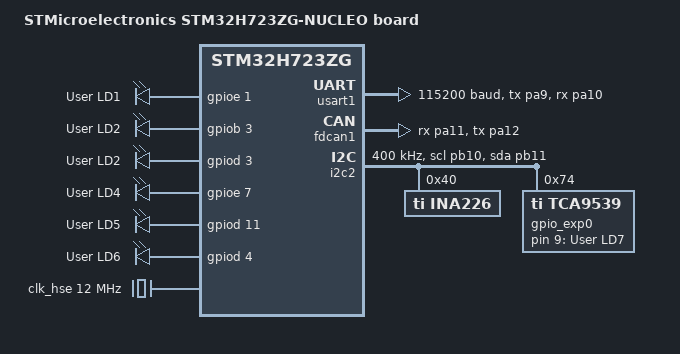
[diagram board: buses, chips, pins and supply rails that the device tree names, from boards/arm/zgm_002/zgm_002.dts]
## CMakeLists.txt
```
# SPDX-License-Identifier: Apache-2.0

cmake_minimum_required(VERSION 3.20.0)
set(BOARD_ROOT ${CMAKE_CURRENT_SOURCE_DIR})
set(DTS_ROOT ${CMAKE_CURRENT_SOURCE_DIR})
set(DTC_OVERLAY_FILE ${CMAKE_CURRENT_SOURCE_DIR}/../modules/lib/motorlib/drivers/drivers@0.2.overlay)

get_filename_component(MODULES_BASE_PATH "${CMAKE_CURRENT_SOURCE_DIR}/../modules/lib" ABSOLUTE)

# 添加Zephyr外部模块
list(APPEND ZEPHYR_EXTRA_MODULES
    "${MODULES_BASE_PATH}/motorlib"
    "${MODULES_BASE_PATH}/CommonLibrary"
    "${MODULES_BASE_PATH}/ProtocolV4"    
)

find_package(Zephyr REQUIRED HINTS $ENV{ZEPHYR_BASE})
project(super)

#add_subdirectory(drivers/can)
add_subdirectory(drivers/gpio)
if(CONFIG_UAVCAN_ENABLE)
    zephyr_library_sources(${CMAKE_CURRENT_SOURCE_DIR}/src/super_thread.c)
endif()
if(CONFIG_MOTORLIB_ENABLE)
    zephyr_library_sources(${CMAKE_CURRENT_SOURCE_DIR}/src/mc_thread.c)
endif()

target_sources(app PRIVATE
    src/main.c
)
```

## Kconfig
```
#// clang-format off
source "Kconfig.zephyr" 
rsource "drivers/gpio/Kconfig.tca9539" 
#// clang-format on
```

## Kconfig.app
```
config MOTOR_MODEL
    bool "Enable Motor Model"
    default n
    help
      Enable specific motor model configuration
      for superlift application
```

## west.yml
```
manifest:
  self:
    path: powerlifter  # 修正拼写错误

  remotes:
    - name: github
      url-base: ssh://git@github.com 
    - name: origin 
      url-base: ssh://git@github.com/zagerx  # 改为 SSH 协议

  defaults:
    remote: origin
    revision: master

  projects:
    - name: zephyr
      remote: github
      repo-path: zephyrproject-rtos/zephyr
      revision: v4.1.0
      import: submanifests
      import:
        name-allowlist:
          - cmsis
          - cmsis-dsp
          - hal_stm32
          - segger
          - canopennode
    - name: ProtocolV4
      path: modules/lib/ProtocolV4
      submodules: true
      revision: master

    - name: motorlib
      path: modules/lib/motorlib
      revision: master

    - name: CommonLibrary
      path: modules/lib/CommonLibrary
      revision: master

    - name: syrius-dts
      path: syrius-dts/
      remote: origin  # 改为存在的 remote
      revision: master
    
    - name: syrius-boards
      path: syrius-boards/
      remote: origin  # 改为存在的 remote
      revision: master
```

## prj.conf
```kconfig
CONFIG_GPIO=y
CONFIG_LOG=y
CONFIG_COMPILER_SAVE_TEMPS=y
CONFIG_CMSIS_DSP=y
CONFIG_CMSIS_DSP_BASICMATH=y  # 根据需要启用其他功能模块
CONFIG_CMSIS_DSP_CONTROLLER=y  # 启用三角函数函数（包含 arm_sin_cos_f32）
CONFIG_CMSIS_DSP_FASTMATH=y

# 禁用 UART 控制台输出
CONFIG_UART_CONSOLE=y

# 启用 RTT 控制台
CONFIG_RTT_CONSOLE=n

# 启用 SEGGER RTT 通信协议
CONFIG_SEGGER_SYSTEMVIEW=n
CONFIG_USE_SEGGER_RTT=y

CONFIG_FPU=y
CONFIG_FPU_SHARING=y

CONFIG_DEBUG_OPTIMIZATIONS=y
CONFIG_NO_OPTIMIZATIONS=y
CONFIG_CAN=y
CONFIG_CAN_FD_MODE=y
CONFIG_CAN_STM32H7_FDCAN=y
CONFIG_CAN_INIT_PRIORITY=70
CONFIG_UAVCAN_ENABLE=y
CONFIG_STD_C11=y
# CONFIG_DEVICE_ITERATION=y


# 选择电机型号
CONFIG_MOTOR_SUPER_ABZHALL_400W=y
CONFIG_MOTORLIB_ENABLE=y
CONFIG_COMMONLIBRARY_ENABLE=y


# CONFIG_I2C=y
CONFIG_SENSOR=y
CONFIG_MAIN_STACK_SIZE=4096
CONFIG_THREAD_NAME=y

CONFIG_GPIO_TCA9539=y
# CONFIG_GPIO_LOG_LEVEL_DBG=y

# CONFIG_CURRSMP_SHUNT_LOG_LEVEL=3
```

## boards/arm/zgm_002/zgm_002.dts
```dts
/*
 * Copyright (c) 2020 Alexander Kozhinov <ak.alexander.kozhinov@gmail.com>
 * SPDX-License-Identifier: Apache-2.0
 */

/dts-v1/;
#include <st/h7/stm32h723Xg.dtsi>
#include <st/h7/stm32h723vgtx-pinctrl.dtsi>

/*
 * WARNING:
 * JP6 and SB72 must be ON when using Ethernet.
 */

/ {
	model = "STMicroelectronics STM32H723ZG-NUCLEO board";
	compatible = "st,stm32h723zg-nucleo";

	chosen {
		zephyr,console = &usart1;
		zephyr,shell-uart = &usart1;
		zephyr,dtcm = &dtcm;
		zephyr,sram = &sram0;
		zephyr,flash = &flash0;
		zephyr,canbus = &fdcan1;
	};

	leds: leds {
		compatible = "gpio-leds";
		

		green_led: led_0 {
			gpios = <&gpioe 1 GPIO_ACTIVE_HIGH>;
			label = "User LD1";
		};
		mot12_brk_pin: led_1 {
			gpios = <&gpiob 3 GPIO_ACTIVE_HIGH>;
			label = "User LD2";
		};
		encoder_vcc: led_2 {
			gpios = <&gpiod 3 GPIO_ACTIVE_HIGH>;
			label = "User LD2";
		};	
		wdog: led_3 {
			gpios = <&gpioe 7 GPIO_ACTIVE_HIGH>;
			label = "User LD4";
		};				
		proximity_switch:led_4{
			gpios = <&gpiod 11 GPIO_ACTIVE_HIGH>;
			label = "User LD5";
		};
		stopbutton:led_5{
			gpios = <&gpiod 4 GPIO_ACTIVE_HIGH>;
			label = "User LD6";
		};
		run_led: led_6 {
			gpios = <&gpio_exp0 9 GPIO_ACTIVE_HIGH>;
			label = "User LD7";
		};	
	};

	aliases {
		led0 = &green_led;
	};
};

&clk_lsi {
	status = "okay";
};

&clk_hsi48 {
	status = "okay";
};

&clk_hse {
	clock-frequency = <DT_FREQ_M(12)>; /* STLink 12MHz clock */
	status = "okay";
};

&clk_lse {
	status = "disabled";
};

&pll {
	div-m = <6>;
	mul-n = <275>;
	div-p = <1>;
	div-q = <4>;
	div-r = <2>;
	clocks = <&clk_hse>;
	status = "okay";
};

&pll2 {
	div-m = <1>;
	mul-n = <10>;
	div-p = <1>;
	div-q = <1>;
	div-r = <1>;
	clocks = <&clk_hse>;
	status = "okay";
};

&rcc {
	clocks = <&pll>;
	clock-frequency = <DT_FREQ_M(550)>;
	d1cpre = <1>;
	hpre = <2>;    /* HCLK: 275   MHz */
	d1ppre = <2>;  /* APB1: 137.5 MHz */
	d2ppre1 = <2>; /* APB2: 137.5 MHz */
	d2ppre2 = <2>; /* APB3: 137.5 MHz */
	d3ppre = <2>;  /* APB4: 137.5 MHz */
};


&usart1 {
	pinctrl-0 = <&usart1_tx_pa9 &usart1_rx_pa10>;
	pinctrl-names = "default";
	current-speed = <115200>;
	status = "okay";
};


&backup_sram {
	status = "okay";
};

&fdcan1 {
	pinctrl-0 = <&fdcan1_rx_pa11 &fdcan1_tx_pa12>;
	pinctrl-names = "default";
	clocks = <&rcc STM32_CLOCK_BUS_APB1_2 0x00000100>,
		 <&rcc STM32_SRC_PLL2_Q FDCAN_SEL(2)>;
	status = "okay";
};
&i2c2 {
	pinctrl-0 = <&i2c2_scl_pb10 &i2c2_sda_pb11>;
	pinctrl-names = "default";
	status = "okay";
	clock-frequency = <I2C_BITRATE_FAST>;

	ina226@40 {
		compatible = "ti,ina226";
		reg = <0x40>;
		
		current-lsb-microamps = <610>;
		rshunt-micro-ohms = <2000>;
		
		/* 优化配置 */
		avg-count = <16>;
		vbus-conversion-time-us = <1100>;
		vshunt-conversion-time-us = <1100>;
		operating-mode = "Shunt and Bus, Continuous";
	};
	gpio_exp0: tca9539@74 {
		compatible = "ti,tca9539";
		reg = <0x74>;
		gpio-controller;
		#gpio-cells = <2>;
		ngpios = <16>;
		status = "okay";
	};	
};
```

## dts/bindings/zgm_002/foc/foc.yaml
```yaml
# Copyright 2023 SyriusRobotics
# SPDX-License-Identifier: Apache-2.0

description: Motor Control Algorithm 

compatible: "foc-ctrl-algo"

properties:
  modulate:
    type: int
    required: false 
    description: FOC SVPWM FLAG  
```

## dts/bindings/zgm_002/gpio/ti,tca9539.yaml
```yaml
# Copyright (c) 2018, Aapo Vienamo
# Copyright (c) 2021, Laird Connectivity
# SPDX-License-Identifier: Apache-2.0

description: TCA9539 GPIO node

compatible: "ti,tca9539"

include: [gpio-controller.yaml, i2c-device.yaml]

properties:
  has-pud:
    type: boolean
    description: Supports pull-up/pull-down

  has-interrupt-mask-reg:
    type: boolean
    description: Has Interrupt mask register (TCA95xx)

  interrupt-gpios:
    type: phandle-array
    description: Interrupt GPIO pin (active-low open-drain)

  "#gpio-cells":
    const: 2

gpio-cells:
  - pin
  - flags
```

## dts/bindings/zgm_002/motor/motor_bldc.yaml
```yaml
# Copyright 2023 SyriusRobotics
# SPDX-License-Identifier: Apache-2.0

description: BLDC 电机设备绑定

compatible: "motor-bldc"

include: [base.yaml]

properties:
  currsmp:
    type: phandle
    required: true
    description: FOC SVPWM 
  feedback:    
    type: phandle
    required: true 
    description: FOC SVPWM out          
  pwm:
    type: phandle
    required: true
    description: FOC SVPWM out    

  status:
    type: string
    required: false
    description: 设备状态 (okay/disabled)
```

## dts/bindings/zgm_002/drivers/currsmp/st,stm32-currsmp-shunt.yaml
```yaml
# Copyright (c) 2021, Teslabs Engineering S.L.
# SPDX-License-Identifier: Apache-2.0

description: |
  STM32 shunt current sampling driver.

  The shunt current sampling device is expected to be a children of any STM32
  ADC supporting injected conversions. Example usage:

    &adc1 {
      currsmp: currsmp {
        compatible = "st,stm32-currsmp-shunt";
        pinctrl-0 = <&adc1_in1_pa0 &adc1_in7_pc1 &adc1_in6_pc0>;
        pinctrl-names = "default";

        adc-resolution = <12>;
        adc-tsample-us = <2>;
        adc-channels = <1 7 6>;
        adc-trigger = <STM32_ADC_INJ_TRIG_TIM1_TRGO>;
      };
    };

compatible: "st,stm32-currsmp-shunt"

include: [base.yaml, pinctrl-device.yaml]

properties:
  pinctrl-0:
    required: true

  pinctrl-names:
    required: true

  adc-resolution:
    type: int
    required: false
    description: |
      ADC resolution in bits. Available resolutions can differ depending on
      the selected SoC family.

  adc-tsample:
    type: int
    required: false
    description: |
      ADC sampling time in cycles. Decimal sampling times must be rounded
      up, e.g. 19.5 needs to be provided as 20. Available sample times can
      differ depending on the SoC family.

  adc-channels:
    type: array
    required: false
    description: |
      ADC channels (a, b, c).

  adc-trigger:
    type: int
    required: false
    description: |
      External trigger for the injected ADC conversions. The external trigger
      must be an output of the timer used for SV-PWM.

      Definitions available at dts-bindings/adc/stm32fxxx.h files.
  adc-slave:
    type: int
    required: false
    description: |
      Timer slave mode flag, default 0 (master mode)
```

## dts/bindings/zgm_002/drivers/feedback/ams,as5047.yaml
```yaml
# Copyright (c) 2022, Felipe Neves
# SPDX-License-Identifier: Apache-2.0

description: |
    AMS (Austria Mikro Systeme) AS5047 Angular position sensor

compatible: "ams,as5047"

include: [sensor-device.yaml, spi-device.yaml]
```

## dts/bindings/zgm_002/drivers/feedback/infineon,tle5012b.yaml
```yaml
# Copyright (c) 2022, Felipe Neves
# SPDX-License-Identifier: Apache-2.0

description: |
    Infineon TLE5012B magnetic angular position sensor

compatible: "infineon,tle5012b"

include: [sensor-device.yaml, spi-device.yaml]

properties:
  bit-resolution:
    type: int
    required: false
    default: 15

  angle-offset:
    type: int
    required: false
    default: 0

  pole-number:
    type: int
    required: false
    default: 0

  cs-gpios:
    type: phandle-array
    required: false
```

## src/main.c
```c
/*
 * Copyright (c) 2016 Intel Corporation
 *
 * SPDX-License-Identifier: Apache-2.0
 */

#include "zephyr/device.h"
#include <zephyr/kernel.h>

int main(void)
{
	while (1) {
		k_msleep(1000);
	}
	return 0;
}
```

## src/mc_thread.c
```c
/**
 * @file motor_thread.c
 * @brief BLDC motor control thread implementation
 *
 * Handles:
 * - Motor control thread creation
 * - Hardware initialization (GPIOs, watchdog)
 * - Main motor control loop
 *
 * Copyright (c) 2023 Your Company
 * SPDX-License-Identifier: Apache-2.0
 */

#include <stdint.h>
#include <zephyr/kernel.h>
#include "fault_monitoring_module.h"
#include "statemachine.h"
#include "zephyr/device.h"
#include <zephyr/drivers/gpio.h>
#include <zephyr/logging/log.h>
#include <lib/motor/motor.h>
#include <fault_monitoring_module.h>
#include <zephyr/sys/reboot.h>

/* Module logging setup */
#define LOG_LEVEL CONFIG_MOTOR_LIB_LOG_LEVEL
#include <zephyr/logging/log.h>
LOG_MODULE_REGISTER(motor_thread);

/* Thread stack definition */
K_THREAD_STACK_DEFINE(motor_thread_stack, 2048);
#define MOT12_BRK_PIN_NODE DT_NODELABEL(mot12_brk_pin)
#define ENCODER_VCC        DT_NODELABEL(encoder_vcc)
#define W_DOG              DT_NODELABEL(wdog)
/**
 * @struct motor_thread_data
 * @brief Motor thread control structure
 */

static struct k_thread mc_thread; ///< Thread control block

/**
 * @brief Motor control thread entry function
 * @param p1 Unused parameter
 * @param p2 Unused parameter
 * @param p3 Unused parameter
 *
 * Initializes hardware and runs main control loop:
 * 1. Configures all GPIO devices
 * 2. Starts motor control tasks
 * 3. Maintains watchdog timer
 */
extern void motor_set_vol(const struct device *motor, float *bus_vol);
extern void motor_set_falutcode(const struct device *motor, enum motor_fault_code code);
extern enum motor_fault_code motor_get_falutcode(const struct device *motor);
static void motor_thread_entry(void *p1, void *p2, void *p3)
{
	const struct device *motor0 = DEVICE_DT_GET(DT_NODELABEL(motor0));
	const struct motor_data *m_data = motor0->data;

	int ret;

	const struct gpio_dt_spec mot12_brk = GPIO_DT_SPEC_GET(MOT12_BRK_PIN_NODE, gpios);
	ret = gpio_pin_configure_dt(&mot12_brk, GPIO_OUTPUT_ACTIVE);
	if (ret < 0) {
		LOG_ERR("Failed to configure brake pin (err %d)", ret);
	}
	gpio_pin_set_dt(&mot12_brk, 0);
	/* Initialize watchdog pin */
	const struct gpio_dt_spec w_dog = GPIO_DT_SPEC_GET(W_DOG, gpios);
	ret = gpio_pin_configure_dt(&w_dog, GPIO_OUTPUT_ACTIVE);
	if (ret < 0) {
		LOG_ERR("Failed to configure watchdog pin (err %d)", ret);
	}

	/* Initialize encoder power */
	const struct gpio_dt_spec encoder_vcc = GPIO_DT_SPEC_GET(ENCODER_VCC, gpios);
	ret = gpio_pin_configure_dt(&encoder_vcc, GPIO_OUTPUT_ACTIVE);
	if (ret < 0) {
		LOG_ERR("Failed to configure encoder power (err %d)", ret);
	}

	float bus_volcurur[2];
	fmm_t *bus_vol_fmm = m_data->fault[0];
	fmm_t *buf_curr_fmm = m_data->fault[1];
	fmm_init(bus_vol_fmm, 60.0f, 48.0f, 5, 5, NULL);
	fmm_init(buf_curr_fmm, 5.0f, 0.0f, 5, 5, NULL);

	static int16_t fault_fsm = 0;
	while (1) {
		motor_get_bus_voltage_current(motor0, &bus_volcurur[0], &bus_volcurur[1]);
		motor_set_vol(motor0, bus_volcurur);

		fmm_monitoring(bus_vol_fmm, bus_volcurur[0]);
		fmm_monitoring(buf_curr_fmm, bus_volcurur[1]);

		switch (fault_fsm) {
		case 1:
			if (fmm_readstatus(bus_vol_fmm) == FMM_NORMAL &&
			    fmm_readstatus(buf_curr_fmm) == FMM_NORMAL) { // 判断是否恢复
				fault_fsm = 0;
				motor_set_falutcode(motor0, MOTOR_FAULTCODE_NOERR);
				motor_set_state(motor0, MOTOR_STATE_IDLE);
			}
			break;
		case 0: // 判断是否有故障
			if (fmm_readstatus(bus_vol_fmm) == FMM_FAULT) {
				fault_fsm = 1;
				motor_set_falutcode(motor0, MOTOR_FAULTCODE_UNDERVOL);
				motor_set_state(motor0, MOTOR_STATE_FAULT);
			} else if (fmm_readstatus(buf_curr_fmm) == FMM_FAULT) {
				fault_fsm = 1;
				motor_set_falutcode(motor0, MOTOR_FAULTCODE_OVERCURRMENT);
				motor_set_state(motor0, MOTOR_STATE_FAULT);
			} else {
			}
			break;
		default:
			break;
		}

		DISPATCH_FSM(m_data->mode_state_mec);
		gpio_pin_toggle_dt(&w_dog);

		k_msleep(1);
	}
}

/**
 * @brief Create motor control thread
 * @param dev Unused device pointer
 *
 * Creates high-priority cooperative thread for motor control.
 */
int creat_motor_thread(void)
{

	k_thread_create(&mc_thread, motor_thread_stack, K_THREAD_STACK_SIZEOF(motor_thread_stack),
			motor_thread_entry, NULL, NULL, NULL,
			K_PRIO_COOP(4), // High priority cooperative thread
			0, K_NO_WAIT);
	return 0;
}
SYS_INIT(creat_motor_thread, APPLICATION, CONFIG_APPLICATION_INIT_PRIORITY);
```

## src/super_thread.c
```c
#include <stdint.h>
#include <zephyr/kernel.h>
#include <zephyr/init.h>
#include <statemachine.h>
#include "zephyr/device.h"
#include <zephyr/drivers/gpio.h>
#include <zephyr/logging/log.h>
#include <lib/motor/motor.h>
#include "s_posi_planning.h"
#include <lib/foc/foc.h>
#include <zephyr/sys/reboot.h>
#include <zephyr/drivers/sensor.h>

/* Module logging setup */
LOG_MODULE_REGISTER(super_thread, LOG_LEVEL_DBG);

/* Device tree node aliases */
#define LED0_NODE	   DT_ALIAS(led0)
#define MOT12_BRK_PIN_NODE DT_NODELABEL(mot12_brk_pin)
#define ENCODER_VCC	   DT_NODELABEL(encoder_vcc)
#define W_DOG		   DT_NODELABEL(wdog)
#define P_SWITCH	   DT_NODELABEL(proximity_switch)
#define STOP_BUTTON	   DT_NODELABEL(stopbutton)
#define RUNING_LED	   DT_NODELABEL(run_led)

#define ZERO_POSI_IOSTATE      (1)
#define EMERGENCY_STOP_IOSTATE (1)
#define RISING_CMD	       (1)
#define FALLING_CMD	       (2)
#define RISING_DIS	       1500.0f
K_THREAD_STACK_DEFINE(super_thread_stack, 2048);

uint8_t conctrl_cmd = 0;
static fsm_cb_t elevator_handle = {
	.chState = 0,
};
static struct k_thread superlift_thread;
const struct gpio_dt_spec led = GPIO_DT_SPEC_GET(LED0_NODE, gpios);

static fsm_rt_t superlift_NoReady(fsm_cb_t *obj);
static fsm_rt_t superlift_ZeroPoint(fsm_cb_t *obj);
static fsm_rt_t superlift_Rising(fsm_cb_t *obj);
static fsm_rt_t superlift_HigPoint(fsm_cb_t *obj);
static fsm_rt_t superlift_Falling(fsm_cb_t *obj);
static fsm_rt_t superlift_EmergencyStop(fsm_cb_t *obj);
static fsm_rt_t superlift_Motorfault(fsm_cb_t *obj);
static fsm_rt_t superlift_Idle(fsm_cb_t *obj);
enum motor_fault_code motor_get_falutcode(const struct device *motor);

/* GPIO device specification */
/**
   uint8 INIT = 0
   uint8 NOT_READY = 1
   uint8 UNLOCK = 2
   uint8 LOCKING = 3
   uint8 LOCK = 4
   uint8 UNLOCKING = 5
   uint8 INTERMEDIATE = 6
   uint8 EXCEPTION = 255
*/
int8_t super_elevator_state(void)
{
	int16_t state = 0;
	if (elevator_handle.current_state == superlift_Idle) {
		state = 0;
	} else if (elevator_handle.current_state == superlift_NoReady) {
		state = 1;
	} else if (elevator_handle.current_state == superlift_ZeroPoint) {
		state = 2;
	} else if (elevator_handle.current_state == superlift_Rising) {
		state = 3;
	} else if (elevator_handle.current_state == superlift_HigPoint) {
		state = 4;
	} else if (elevator_handle.current_state == superlift_Falling) {
		state = 5;
	} else if (elevator_handle.current_state == superlift_EmergencyStop) {
		if (elevator_handle.previous_state == superlift_ZeroPoint) {
			state = 2;
		} else if (elevator_handle.previous_state == superlift_HigPoint) {
			state = 4;
		} else if (elevator_handle.previous_state == superlift_Falling) {
			state = 6;
		} else if (elevator_handle.previous_state == superlift_Rising) {
			state = 6;
		} else if (elevator_handle.previous_state == superlift_NoReady) {
			state = 1;
		}
	} else {
		state = 255;
	}
	return state;
}
/**
 * @brief Motor control thread entry function
 * @param p1 Unused parameter
 * @param p2 Unused parameter
 * @param p3 Unused parameter
 *
 * Initializes hardware and runs main control loop:
 * 1. Configures all GPIO devices
 * 2. Starts motor control tasks
 * 3. Maintains watchdog timer
 */
static void super_thread_entry(void *p1, void *p2, void *p3)
{
	/* Initialize LED indicator */
	if (!device_is_ready(led.port)) {
		LOG_ERR("LED device not ready");
		return;
	}
	k_msleep(1000);
	int ret = gpio_pin_configure_dt(&led, GPIO_OUTPUT_ACTIVE);
	if (ret < 0) {
		LOG_ERR("Failed to configure LED (err %d)", ret);
	}

	/* Initialize brake pin */
	const struct gpio_dt_spec mot12_brk = GPIO_DT_SPEC_GET(MOT12_BRK_PIN_NODE, gpios);
	ret = gpio_pin_configure_dt(&mot12_brk, GPIO_OUTPUT_ACTIVE);
	if (ret < 0) {
		LOG_ERR("Failed to configure brake pin (err %d)", ret);
	}
	gpio_pin_set_dt(&mot12_brk, 0);
	/* Initialize watchdog pin */
	const struct gpio_dt_spec w_dog = GPIO_DT_SPEC_GET(W_DOG, gpios);
	ret = gpio_pin_configure_dt(&w_dog, GPIO_OUTPUT_ACTIVE);
	if (ret < 0) {
		LOG_ERR("Failed to configure watchdog pin (err %d)", ret);
	}

	/* Initialize encoder power */
	const struct gpio_dt_spec encoder_vcc = GPIO_DT_SPEC_GET(ENCODER_VCC, gpios);
	ret = gpio_pin_configure_dt(&encoder_vcc, GPIO_OUTPUT_ACTIVE);
	if (ret < 0) {
		LOG_ERR("Failed to configure encoder power (err %d)", ret);
	}

	const struct gpio_dt_spec prx_switch = GPIO_DT_SPEC_GET(P_SWITCH, gpios);
	ret = gpio_pin_configure_dt(&prx_switch, GPIO_INPUT);
	if (ret < 0) {
		LOG_ERR("Failed to configure proximity switch (err %d)", ret);
	}

	const struct gpio_dt_spec stop = GPIO_DT_SPEC_GET(STOP_BUTTON, gpios);
	ret = gpio_pin_configure_dt(&stop, GPIO_INPUT);
	if (ret < 0) {
		LOG_ERR("Failed to configure stop button (err %d)", ret);
	}

	const struct gpio_dt_spec runled = GPIO_DT_SPEC_GET(RUNING_LED, gpios);
	ret = gpio_pin_configure_dt(&runled, GPIO_OUTPUT_ACTIVE);
	if (ret < 0) {
		LOG_ERR("Failed to configure watchdog pin (err %d)", ret);
	}
	/* Initial delay for hardware stabilization */
	k_msleep(10);
	statemachine_init(&elevator_handle, "superlift_fsm", superlift_Idle, NULL, NULL, 0);
	const struct device *motor = DEVICE_DT_GET(DT_NODELABEL(motor0));

	// const struct device *const ina = DEVICE_DT_GET_ONE(ti_ina226);
	// struct sensor_value v_bus, power, current;
	// int rc;

	// if (!device_is_ready(ina)) {
	// 	LOG_ERR("Device %s is not ready.\n", ina->name);
	// 	return;
	// }
	/* Main control loop */
	while (1) {
		/* Toggle watchdog */
		gpio_pin_toggle_dt(&w_dog);
		/* Run motor control tasks */
		if (motor_get_state(motor) == MOTOR_STATE_FAULT &&
		    elevator_handle.current_state != superlift_Motorfault) {
			TRAN_STATE(&elevator_handle, superlift_Motorfault);
		}
		DISPATCH_FSM(&elevator_handle);
		conctrl_cmd = 0;

		static int16_t count = 0;
		if (count++ > 200) {
			count = 0;
			// rc = sensor_sample_fetch(ina);
			// if (rc) {
			// 	printf("Could not fetch sensor data.\n");
			// 	return;
			// }

			// sensor_channel_get(ina, SENSOR_CHAN_VOLTAGE, &v_bus);
			// sensor_channel_get(ina, SENSOR_CHAN_POWER, &power);
			// sensor_channel_get(ina, SENSOR_CHAN_CURRENT, &current);

			// printf("Bus: %f [V] -- "
			//        "Power: %f [W] -- "
			//        "Current: %f [A]\n",
			//        sensor_value_to_double(&v_bus), sensor_value_to_double(&power),
			//        sensor_value_to_double(&current));
			gpio_pin_toggle_dt(&runled);
		}
		k_msleep(1);
	}
}

static fsm_rt_t superlift_NoReady(fsm_cb_t *obj)
{
	enum {
		RUNING = USER_STATUS,
		ELEVATOR_WAIT,
		ELEVATOR_FINDZERO,
		EMERGENCY_STOP,
	};
	const struct gpio_dt_spec prx_switch = GPIO_DT_SPEC_GET(P_SWITCH, gpios);
	const struct device *motor = DEVICE_DT_GET(DT_NODELABEL(motor0));
	const struct gpio_dt_spec mot12_brk = GPIO_DT_SPEC_GET(MOT12_BRK_PIN_NODE, gpios);
	const struct gpio_dt_spec stop_bt = GPIO_DT_SPEC_GET(STOP_BUTTON, gpios);
	int switch_state;
	int8_t stop_state;
	switch_state = gpio_pin_get_dt(&prx_switch);
	stop_state = gpio_pin_get_dt(&stop_bt);
	switch (obj->chState) {
	case ENTER:
		obj->chState = RUNING;
		break;
	case RUNING:
		if (switch_state != ZERO_POSI_IOSTATE) {
			if (stop_state == EMERGENCY_STOP_IOSTATE) {
				TRAN_STATE(&elevator_handle, superlift_EmergencyStop);
				break;
			}
			if (conctrl_cmd == FALLING_CMD) {
				conctrl_cmd = 0;
				if (motor_get_mode(motor) != MOTOR_MODE_SPEED) {
					motor_set_mode(motor, MOTOR_MODE_SPEED);
				}
				obj->chState = ELEVATOR_WAIT;
			}
		} else {
			TRAN_STATE(&elevator_handle, superlift_ZeroPoint);
		}
		break;
	case ELEVATOR_WAIT:
		if (motor_get_state(motor) != MOTOR_STATE_READY) {
			motor_set_state(motor, MOTOR_STATE_READY);
			break;
		}
		gpio_pin_set_dt(&mot12_brk, 1);
		motor_set_state(motor, MOTOR_STATE_CLOSED_LOOP);
		motor_set_target_speed(motor, 2.5f);
		obj->chState = ELEVATOR_FINDZERO;
		break;
	case ELEVATOR_FINDZERO:
		if (stop_state == EMERGENCY_STOP_IOSTATE) {
			TRAN_STATE(&elevator_handle, superlift_EmergencyStop);
			break;
		}

		if (switch_state == 1) {
			TRAN_STATE(&elevator_handle, superlift_ZeroPoint);
		}
		break;

	case EXIT:
		gpio_pin_set_dt(&mot12_brk, 0);
		motor_set_state(motor, MOTOR_STATE_STOP);
		break;
	default:
		break;
	}
	return 0;
}

static fsm_rt_t superlift_ZeroPoint(fsm_cb_t *obj)
{
	enum {
		RUNING = USER_STATUS,
		READY,
		READY1
	};
	const struct device *motor = DEVICE_DT_GET(DT_NODELABEL(motor0));
	const struct gpio_dt_spec mot12_brk = GPIO_DT_SPEC_GET(MOT12_BRK_PIN_NODE, gpios);
	const struct gpio_dt_spec stop_bt = GPIO_DT_SPEC_GET(STOP_BUTTON, gpios);
	int8_t stop_state;
	switch (obj->chState) {
	case ENTER:
		LOG_DBG("enter ZeroPoint motor_mode:%d", motor_get_mode(motor));

		if (motor_get_mode(motor) != MOTOR_MODE_POSI) {
			motor_set_mode(motor, MOTOR_MODE_POSI);
			break;
		}
		gpio_pin_set_dt(&mot12_brk, 0);
		motor_set_state(motor, MOTOR_STATE_STOP);
		obj->chState = RUNING;
		break;
	case RUNING:
		stop_state = gpio_pin_get_dt(&stop_bt);
		if (stop_state == EMERGENCY_STOP_IOSTATE) {
			TRAN_STATE(&elevator_handle, superlift_EmergencyStop);
			break;
		}
		if (conctrl_cmd != RISING_CMD) {
			break;
		}
		obj->chState = READY;
		break;
	case READY:
		gpio_pin_set_dt(&mot12_brk, 1);
		if (motor_get_state(motor) != MOTOR_STATE_READY) {

			motor_set_state(motor, MOTOR_STATE_READY);
			break;
		}
		motor_clear_realodom(motor, 0.0f);
		float posi = -RISING_DIS;
		motor_set_target_position(motor, 0.0f, posi, 5.0f);
		motor_set_state(motor, MOTOR_STATE_CLOSED_LOOP);
		obj->chState = READY1;
		break;
	case READY1:
		if (motor_get_state(motor) == MOTOR_STATE_CLOSED_LOOP) {
			TRAN_STATE(&elevator_handle, superlift_Rising);
		}
		break;
	case EXIT:
		LOG_DBG("exit ZeroPoint");
		break;
	default:
		break;
	}
	return 0;
}

static fsm_rt_t superlift_Rising(fsm_cb_t *obj)
{
	enum {
		RUNING = USER_STATUS,
		EMERGENCY_STOP,
		EMERGENCY_STOP_RISING,
		EMERGENCY_STOP_FALLING
	};
	static uint16_t conut = 0;

	const struct device *motor = DEVICE_DT_GET(DT_NODELABEL(motor0));
	const struct gpio_dt_spec stop_bt = GPIO_DT_SPEC_GET(STOP_BUTTON, gpios);
	int8_t stop_state;
	stop_state = gpio_pin_get_dt(&stop_bt);

	switch (obj->chState) {
	case ENTER:
		LOG_DBG("enter Rising");
		conut = 0;
		obj->chState = RUNING;
		break;
	case RUNING:
		if (stop_state == EMERGENCY_STOP_IOSTATE) {
			TRAN_STATE(obj, superlift_EmergencyStop);
			break;
		}
		if (fabsf(motor_get_current_position(motor)) < RISING_DIS - 0.001f) // 已经到达位置
		{
			conut = 0;
			break;
		}
		conut++;
		if (conut > 2500) {
			conut = 0;
			TRAN_STATE(&elevator_handle, superlift_HigPoint);
		}
		break;
	case EXIT:
		LOG_DBG("exit Rising");
		break;
	default:
		break;
	}
	return 0;
}

static fsm_rt_t superlift_HigPoint(fsm_cb_t *obj)
{
	enum {
		RUNING = USER_STATUS,
		READY,
	};
	const struct device *motor = DEVICE_DT_GET(DT_NODELABEL(motor0));
	const struct gpio_dt_spec mot12_brk = GPIO_DT_SPEC_GET(MOT12_BRK_PIN_NODE, gpios);
	const struct gpio_dt_spec stop_bt = GPIO_DT_SPEC_GET(STOP_BUTTON, gpios);

	int8_t stop_state;
	stop_state = gpio_pin_get_dt(&stop_bt);

	switch (obj->chState) {
	case ENTER:
		LOG_DBG("enter HigPoint");
		gpio_pin_set_dt(&mot12_brk, 0);
		motor_set_state(motor, MOTOR_STATE_STOP);
		obj->chState = RUNING;
		break;
	case RUNING:
		if (stop_state == EMERGENCY_STOP_IOSTATE) {
			TRAN_STATE(&elevator_handle, superlift_EmergencyStop);
			break;
		}
		if (conctrl_cmd != FALLING_CMD) {
			break;
		}
		obj->chState = READY;
		break;
	case READY:
		gpio_pin_set_dt(&mot12_brk, 1);
		if (motor_get_state(motor) != MOTOR_STATE_READY) {

			motor_set_state(motor, MOTOR_STATE_READY);
			break;
		}
		float posi;
		posi = motor_get_current_position(motor);
		motor_set_target_position(motor, posi, 0.0f, 5.0);
		motor_set_state(motor, MOTOR_STATE_CLOSED_LOOP);
		TRAN_STATE(&elevator_handle, superlift_Falling);
		break;
	case EXIT:
		LOG_DBG("exit HigPoint");
		break;
	default:
		break;
	}
	return 0;
}

static fsm_rt_t superlift_Falling(fsm_cb_t *obj)
{
	enum {
		RUNING = USER_STATUS,
		EMERGENCY_STOP,
		EMERGENCY_STOP_RISING,
		EMERGENCY_STOP_FALLING
	};
	const struct gpio_dt_spec prx_switch = GPIO_DT_SPEC_GET(P_SWITCH, gpios);
	const struct gpio_dt_spec stop_bt = GPIO_DT_SPEC_GET(STOP_BUTTON, gpios);

	int switch_state;
	int8_t stop_state;
	stop_state = gpio_pin_get_dt(&stop_bt);

	switch (obj->chState) {
	case ENTER:
		LOG_DBG("enter Falling");
		obj->chState = RUNING;
		break;
	case RUNING:
		if (stop_state == EMERGENCY_STOP_IOSTATE) {
			TRAN_STATE(obj, superlift_EmergencyStop);
			break;
		}
		switch_state = gpio_pin_get_dt(&prx_switch);
		if (switch_state != 1) {
			break;
		}
		TRAN_STATE(&elevator_handle, superlift_ZeroPoint);
		break;
	case EXIT:
		LOG_DBG("exit Falling");
		break;
	default:
		break;
	}
	return 0;
}

static fsm_rt_t superlift_EmergencyStop(fsm_cb_t *obj)
{
	enum {
		RUNING = USER_STATUS,
		SET_RISING_DIS,
		SET_FALLING_DIS,
		SET_RISING_MOTOR_ENABLE,
		SET_FALLING_MOTOR_ENABLE
	};
	const struct gpio_dt_spec mot12_brk = GPIO_DT_SPEC_GET(MOT12_BRK_PIN_NODE, gpios);
	const struct gpio_dt_spec stop_bt = GPIO_DT_SPEC_GET(STOP_BUTTON, gpios);
	const struct device *motor = DEVICE_DT_GET(DT_NODELABEL(motor0));

	int8_t stop_state;
	stop_state = gpio_pin_get_dt(&stop_bt);
	switch (obj->chState) {
	case ENTER:
		gpio_pin_set_dt(&mot12_brk, 0);
		motor_set_state(motor, MOTOR_STATE_STOP);
		LOG_DBG("enter EmergencyStop");
		obj->chState = RUNING;
		break;
	case RUNING:
		if (stop_state != EMERGENCY_STOP_IOSTATE) {
			if (obj->previous_state == superlift_NoReady) {
				TRAN_STATE(obj, superlift_NoReady);
				break;
			} else if (obj->previous_state == superlift_ZeroPoint) {
				TRAN_STATE(obj, superlift_ZeroPoint);
				break;
			} else if (obj->previous_state == superlift_HigPoint) {
				TRAN_STATE(obj, superlift_HigPoint);
				break;
			} else if (obj->previous_state == superlift_Rising ||
				   obj->previous_state == superlift_Falling) {
				if (conctrl_cmd == RISING_CMD) {
					gpio_pin_set_dt(&mot12_brk, 1);

					motor_set_state(motor, MOTOR_STATE_READY);
					obj->chState = SET_RISING_DIS;
				} else if (conctrl_cmd == FALLING_CMD) {
					gpio_pin_set_dt(&mot12_brk, 1);

					motor_set_state(motor, MOTOR_STATE_READY);
					obj->chState = SET_FALLING_DIS;
				}
				break;
			}
		}
		break;
	case SET_RISING_DIS: {
		float posi;
		posi = motor_get_current_position(motor);
		motor_set_target_position(motor, posi, -RISING_DIS, 5.0f);
		motor_set_state(motor, MOTOR_STATE_CLOSED_LOOP);
		obj->chState = SET_RISING_MOTOR_ENABLE;
	} break;
	case SET_FALLING_DIS: {
		float posi;
		posi = motor_get_current_position(motor);
		motor_set_target_position(motor, posi, 0.0f, 5.0f);
		motor_set_state(motor, MOTOR_STATE_CLOSED_LOOP);
		obj->chState = SET_FALLING_MOTOR_ENABLE;
	} break;
	case SET_RISING_MOTOR_ENABLE:
		if (motor_get_state(motor) == MOTOR_STATE_CLOSED_LOOP) {
			LOG_DBG("motor enter close loop");
		}
		TRAN_STATE(obj, superlift_Rising);
		break;
	case SET_FALLING_MOTOR_ENABLE:
		TRAN_STATE(obj, superlift_Falling);
		break;
	case EXIT:
		LOG_DBG("exit EmergencyStop");
		break;
	default:
		break;
	}
	return 0;
}
static fsm_rt_t superlift_Motorfault(fsm_cb_t *obj)
{
	enum {
		RUNING = USER_STATUS,
	};
	const struct device *motor = DEVICE_DT_GET(DT_NODELABEL(motor0));
	const struct gpio_dt_spec mot12_brk = GPIO_DT_SPEC_GET(MOT12_BRK_PIN_NODE, gpios);
	static uint16_t motor_count = 0;
	switch (obj->chState) {
	case ENTER:
		LOG_DBG("enter Motorfault");
		gpio_pin_set_dt(&mot12_brk, 0);
		motor_set_state(motor, MOTOR_STATE_STOP);
		motor_count = 0;
		obj->chState = RUNING;
		break;
	case RUNING:
		if (motor_get_state(motor) == MOTOR_STATE_IDLE) {
			if (motor_count++ > 3000) {
				// TRAN_STATE(obj, superlift_Idle);
				sys_reboot(SYS_REBOOT_COLD);
			}
		} else {
			LOG_DBG("falut code = %d", motor_get_falutcode(motor));
			motor_count = 0;
		}
		break;
	case EXIT:
		LOG_DBG("exit Motorfault");
		break;
	default:
		break;
	}
	return 0;
}
static fsm_rt_t superlift_Idle(fsm_cb_t *obj)
{
	enum {
		RUNING = USER_STATUS,
	};

	switch (obj->chState) {
	case ENTER:
		LOG_DBG("enter Superlift Idle");
		obj->chState = RUNING;
		break;
	case RUNING:
		// if (conctrl_cmd == 3)
		{
			TRAN_STATE(obj, superlift_NoReady);
		}
		break;
	case EXIT:
		LOG_DBG("exit Superlift Idle");
		break;
	default:
		break;
	}
	return 0;
}
static int init_super_thread(void)
{
	k_thread_create(&superlift_thread, super_thread_stack,
			K_THREAD_STACK_SIZEOF(super_thread_stack), super_thread_entry, NULL, NULL,
			NULL, K_PRIO_COOP(5), 0, K_NO_WAIT);
	return 0;
}

SYS_INIT(init_super_thread, APPLICATION, CONFIG_APPLICATION_INIT_PRIORITY);
```
